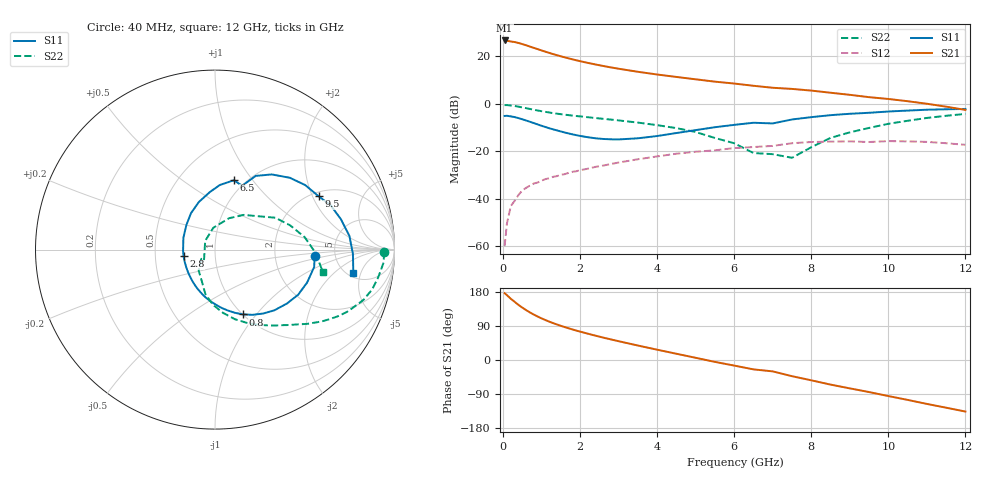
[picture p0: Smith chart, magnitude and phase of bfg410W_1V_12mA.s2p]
! Filename: 112bfg410.001
! BFG410W Field B1
! V1=8.917E-001V,V2=1.000E+000V, I1=2.041E-004A, I2=1.199E-002A
# GHz  S  MA  R 50
!  S11  S21  S12  S22
!Freq(GHz)  Mag  Ang  Mag  Ang  Mag  Ang  Mag  Ang
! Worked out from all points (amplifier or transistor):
!   44 points, 40 MHz to 12 GHz, reference 50 ohm
!   highest |S21| = 26.7 dB at 40 MHz (marker M1)
!   |S21| within 3 dB of that: start of sweep to 773.9 MHz
!   unconditionally stable (mu >= 1): start of sweep to 68.24 MHz; 1.447 GHz to end of sweep
!   at 700 MHz: K = 0.64, MSG = 29.3 dB, |S12| = -34.4 dB
!   at 2.4 GHz: K = 1.22, MAG = 18.7 dB, |S12| = -26.6 dB
!   at 12 GHz: K = 1.57, MAG = 2.9 dB, |S12| = -17.3 dB
!   S11 on the Smith chart (normalised r, x): 40 MHz: 3.46, -0.37; 800 MHz: 1.00, -0.86; 2.8 GHz: 0.70, -0.05; 6.5 GHz: 0.88, +0.81; 9.5 GHz: 2.16, +2.22; 12 GHz: 5.52, -3.78
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0.04  0.556 -3.8  21.72 176.3  0.001 72.5  0.941 -1.0
0.1  0.561 -9.9  21.43 171.1  0.003 85.6  0.943 -4.2
0.2  0.545 -19.8  20.66 161.6  0.007 79.2  0.922 -9.8
0.3  0.527 -28.5  20.11 153.6  0.009 75.9  0.903 -14.3
0.4  0.501 -36.9  19.23 145.5  0.012 72.0  0.874 -18.6
0.5  0.473 -45.7  18.2 138.2  0.015 68.8  0.841 -22.1
0.6  0.446 -53.0  17.18 131.5  0.017 66.2  0.812 -25.4
0.8  0.393 -66.8  15.13 119.7  0.021 62.0  0.751 -30.9
1.1  0.325 -84.1  12.59 105.4  0.026 58.2  0.678 -37.1
1.4  0.276 -99.5  10.62 93.7  0.03 55.7  0.621 -42.1
1.8  0.228 -119.2  8.688 80.7  0.037 53.1  0.566 -48.0
2.2  0.198 -138.4  7.313 69.4  0.043 50.4  0.523 -53.9
2.8  0.179 -167.9  5.87 54.3  0.054 45.4  0.466 -62.9
3.5  0.188 159.5  4.747 38.2  0.068 38.0  0.403 -74.1
4.5  0.243 123.4  3.694 16.5  0.089 25.0  0.308 -92.1
5.5  0.322 95.1  2.94 -5.0  0.105 9.5  0.191 -112.6
6.5  0.4 74.9  2.407 -24.7  0.123 -4.9  0.092 -146.1
7.5  0.469 61.1  2.067 -42.7  0.148 -16.9  0.073 138.5
8.5  0.578 43.8  1.717 -64.9  0.16 -38.7  0.192 65.8
9.5  0.649 27.3  1.385 -84.6  0.157 -57.4  0.311 36.5
10.5  0.722 13.5  1.138 -105.3  0.162 -76.9  0.44 17.9
12  0.782 -9.8  0.746 -136.1  0.137 -112.0  0.614 -11.8
